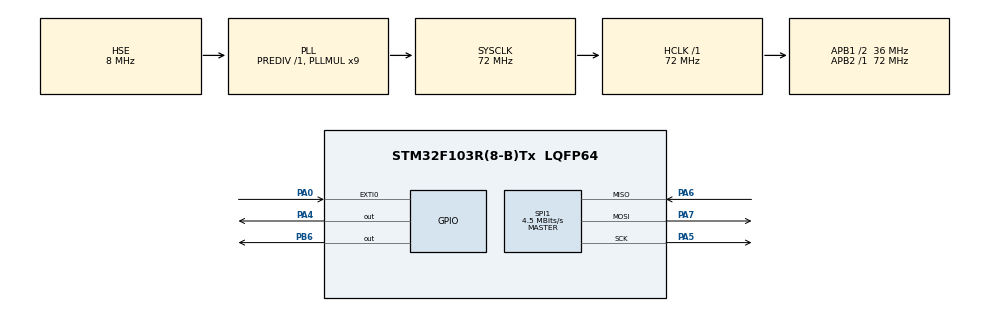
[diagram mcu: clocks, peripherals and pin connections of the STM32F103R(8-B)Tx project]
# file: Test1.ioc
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Mcu.Family=STM32F1
Mcu.Name=STM32F103R(8-B)Tx
Mcu.Package=LQFP64
NVIC.EXTI0_IRQn=true\:0\:0\:false\:false\:true\:true\:true
NVIC.PriorityGroup=NVIC_PRIORITYGROUP_4
NVIC.SPI1_IRQn=true\:0\:0\:false\:false\:true\:true\:true
PA0-WKUP.Signal=GPXTI0
PA13.Mode=Serial_Wire
PA13.Signal=SYS_JTMS-SWDIO
PA14.Mode=Serial_Wire
PA14.Signal=SYS_JTCK-SWCLK
PA4.GPIO_PuPd=GPIO_NOPULL
PA4.GPIO_Speed=GPIO_SPEED_FREQ_HIGH
PA4.PinState=GPIO_PIN_SET
PA4.Signal=GPIO_Output
PA5.Mode=Full_Duplex_Master
PA5.Signal=SPI1_SCK
PA6.Mode=Full_Duplex_Master
PA6.Signal=SPI1_MISO
PA7.Mode=Full_Duplex_Master
PA7.Signal=SPI1_MOSI
PB6.GPIO_PuPd=GPIO_NOPULL
PB6.PinState=GPIO_PIN_SET
PB6.Signal=GPIO_Output
PD0-OSC_IN.Mode=HSE-External-Oscillator
PD0-OSC_IN.Signal=RCC_OSC_IN
PD1-OSC_OUT.Mode=HSE-External-Oscillator
PD1-OSC_OUT.Signal=RCC_OSC_OUT
ProjectManager.HeapSize=0x200
ProjectManager.StackSize=0x400
ProjectManager.TargetToolchain=MDK-ARM V5.27
RCC.AHBFreq_Value=72000000
RCC.APB1CLKDivider=RCC_HCLK_DIV2
RCC.APB1Freq_Value=36000000
RCC.APB1TimFreq_Value=72000000
RCC.APB2Freq_Value=72000000
RCC.APB2TimFreq_Value=72000000
RCC.HCLKFreq_Value=72000000
RCC.PLLMUL=RCC_PLL_MUL9
RCC.PLLSourceVirtual=RCC_PLLSOURCE_HSE
RCC.SYSCLKFreq_VALUE=72000000
RCC.SYSCLKSource=RCC_SYSCLKSOURCE_PLLCLK
RCC.USBFreq_Value=72000000
SPI1.BaudRatePrescaler=SPI_BAUDRATEPRESCALER_16
SPI1.CLKPhase=SPI_PHASE_1EDGE
SPI1.CLKPolarity=SPI_POLARITY_LOW
SPI1.CalculateBaudRate=4.5 MBits/s
SPI1.Direction=SPI_DIRECTION_2LINES
SPI1.Mode=SPI_MODE_MASTER
SPI1.VirtualType=VM_MASTER
board=custom

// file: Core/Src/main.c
/* USER CODE BEGIN Header */
/**
  ******************************************************************************
  * @file           : main.c
  * @brief          : Main program body
  ******************************************************************************
  * @attention
  *
  * <h2><center>&copy; Copyright (c) 2022 STMicroelectronics.
  * All rights reserved.</center></h2>
  *
  * This software component is licensed by ST under BSD 3-Clause license,
  * the "License"; You may not use this file except in compliance with the
  * License. You may obtain a copy of the License at:
  *                        opensource.org/licenses/BSD-3-Clause
  *
  ******************************************************************************
  */
/* USER CODE END Header */
#include "main.h"

SPI_HandleTypeDef hspi1;

/* USER CODE BEGIN PV */
uint8_t DevID[3] = {0x01,0x00,0x00};
uint8_t SwitchOn[3] = {0x09,0xFF,0xF8}; //ok
//uint8_t GenConfig[3] = {0x04,0x3F,0x00}; //ok
uint8_t SPIConfig[3] = {0x03,0x0A,0xA4}; //ok(?)
uint8_t TxData[3];
uint8_t NOP[3];
uint8_t SetValue[3] = {0x10,0xFF,0xFF};
uint8_t ResetValue[3] = {0x10,0x00,0x00};
uint8_t k=0;
/* USER CODE END PV */

void SystemClock_Config(void);
static void MX_GPIO_Init(void);
static void MX_SPI1_Init(void);
/* USER CODE BEGIN PFP */
void Set(uint8_t i);
/* USER CODE END PFP */

int main(void)
{

  /* MCU Configuration--------------------------------------------------------*/

  /* Reset of all peripherals, Initializes the Flash interface and the Systick. */
  HAL_Init();

  /* Configure the system clock */
  SystemClock_Config();

  /* Initialize all configured peripherals */
  MX_GPIO_Init();
  MX_SPI1_Init();
  /* USER CODE BEGIN 2 */

  //Configuring SPI on DAC
  HAL_GPIO_WritePin(GPIOA,GPIO_PIN_4, GPIO_PIN_RESET); //CS low
  HAL_Delay(1);
  HAL_SPI_Transmit(&hspi1,SPIConfig,3,0); //SPI config register
  while(__HAL_SPI_GET_FLAG(&hspi1,SPI_FLAG_BSY));
  HAL_GPIO_WritePin(GPIOA,GPIO_PIN_4, GPIO_PIN_SET); //CS high
  HAL_Delay(1);
  //Reading the response
  HAL_GPIO_WritePin(GPIOA,GPIO_PIN_4, GPIO_PIN_RESET); //CS low
  HAL_Delay(1);
  HAL_SPI_Receive(&hspi1,TxData,3,0);
  while(__HAL_SPI_GET_FLAG(&hspi1,SPI_FLAG_BSY));
  HAL_GPIO_WritePin(GPIOA,GPIO_PIN_4, GPIO_PIN_SET); //CS high
  HAL_Delay(1);

  //Turning on DAC0
  HAL_GPIO_WritePin(GPIOA,GPIO_PIN_4, GPIO_PIN_RESET); //CS low
  HAL_Delay(1);
  HAL_SPI_Transmit(&hspi1,SwitchOn,3,0);
  while(__HAL_SPI_GET_FLAG(&hspi1,SPI_FLAG_BSY));
  HAL_GPIO_WritePin(GPIOA,GPIO_PIN_4, GPIO_PIN_SET); //CS high
  HAL_Delay(1);
  //Reading the response
  HAL_GPIO_WritePin(GPIOA,GPIO_PIN_4, GPIO_PIN_RESET); //CS low
  HAL_Delay(1);
  HAL_SPI_Receive(&hspi1,TxData,3,0);
  while(__HAL_SPI_GET_FLAG(&hspi1,SPI_FLAG_BSY));
  HAL_GPIO_WritePin(GPIOA,GPIO_PIN_4, GPIO_PIN_SET); //CS high
  HAL_Delay(1);

/*  HAL_GPIO_WritePin(GPIOA,GPIO_PIN_4, GPIO_PIN_RESET);
  //HAL_Delay(50);
  HAL_SPI_Transmit(&hspi1,GenConfig,3,0);
  HAL_GPIO_WritePin(GPIOA,GPIO_PIN_4, GPIO_PIN_SET);
  HAL_Delay(50);
  HAL_GPIO_WritePin(GPIOA,GPIO_PIN_4, GPIO_PIN_RESET);
  //HAL_Delay(50);
  HAL_SPI_Receive(&hspi1,TxData,3,0);
  while(__HAL_SPI_GET_FLAG(&hspi1,SPI_FLAG_BSY));
  HAL_GPIO_WritePin(GPIOA,GPIO_PIN_4, GPIO_PIN_SET);
  HAL_Delay(50);*/

  //Sending the deviceID command
  HAL_GPIO_WritePin(GPIOA,GPIO_PIN_4, GPIO_PIN_RESET); //CS low
  HAL_Delay(1);
  HAL_SPI_Transmit(&hspi1,DevID,3,0);
  while(__HAL_SPI_GET_FLAG(&hspi1,SPI_FLAG_BSY));
  HAL_GPIO_WritePin(GPIOA,GPIO_PIN_4, GPIO_PIN_SET); //CS high
  HAL_Delay(1);
  //Reading the response
  HAL_GPIO_WritePin(GPIOA,GPIO_PIN_4, GPIO_PIN_RESET); //CS low
  HAL_Delay(1);
  HAL_SPI_Receive(&hspi1,TxData,3,0);
  while(__HAL_SPI_GET_FLAG(&hspi1,SPI_FLAG_BSY));
  HAL_GPIO_WritePin(GPIOA,GPIO_PIN_4, GPIO_PIN_SET); //CS high
  HAL_Delay(1);

  /* USER CODE END 2 */

  /* Infinite loop */
  /* USER CODE BEGIN WHILE */
  while (1)
  {
    Set(k);
    /* USER CODE END WHILE */

  }
}

void SystemClock_Config(void)
{
  RCC_OscInitTypeDef RCC_OscInitStruct = {0};
  RCC_ClkInitTypeDef RCC_ClkInitStruct = {0};

  /** Initializes the RCC Oscillators according to the specified parameters
  * in the RCC_OscInitTypeDef structure.
  */
  RCC_OscInitStruct.OscillatorType = RCC_OSCILLATORTYPE_HSE;
  RCC_OscInitStruct.HSEState = RCC_HSE_ON;
  RCC_OscInitStruct.HSEPredivValue = RCC_HSE_PREDIV_DIV1;
  RCC_OscInitStruct.HSIState = RCC_HSI_ON;
  RCC_OscInitStruct.PLL.PLLState = RCC_PLL_ON;
  RCC_OscInitStruct.PLL.PLLSource = RCC_PLLSOURCE_HSE;
  RCC_OscInitStruct.PLL.PLLMUL = RCC_PLL_MUL9;
  if (HAL_RCC_OscConfig(&RCC_OscInitStruct) != HAL_OK)
  {
    Error_Handler();
  }
  /** Initializes the CPU, AHB and APB buses clocks
  */
  RCC_ClkInitStruct.ClockType = RCC_CLOCKTYPE_HCLK|RCC_CLOCKTYPE_SYSCLK
                              |RCC_CLOCKTYPE_PCLK1|RCC_CLOCKTYPE_PCLK2;
  RCC_ClkInitStruct.SYSCLKSource = RCC_SYSCLKSOURCE_PLLCLK;
  RCC_ClkInitStruct.AHBCLKDivider = RCC_SYSCLK_DIV1;
  RCC_ClkInitStruct.APB1CLKDivider = RCC_HCLK_DIV2;
  RCC_ClkInitStruct.APB2CLKDivider = RCC_HCLK_DIV1;

  if (HAL_RCC_ClockConfig(&RCC_ClkInitStruct, FLASH_LATENCY_2) != HAL_OK)
  {
    Error_Handler();
  }
}

static void MX_SPI1_Init(void)
{

  /* SPI1 parameter configuration*/
  hspi1.Instance = SPI1;
  hspi1.Init.Mode = SPI_MODE_MASTER;
  hspi1.Init.Direction = SPI_DIRECTION_2LINES;
  hspi1.Init.DataSize = SPI_DATASIZE_8BIT;
  hspi1.Init.CLKPolarity = SPI_POLARITY_LOW;
  hspi1.Init.CLKPhase = SPI_PHASE_1EDGE;
  hspi1.Init.NSS = SPI_NSS_SOFT;
  hspi1.Init.BaudRatePrescaler = SPI_BAUDRATEPRESCALER_16;
  hspi1.Init.FirstBit = SPI_FIRSTBIT_MSB;
  hspi1.Init.TIMode = SPI_TIMODE_DISABLE;
  hspi1.Init.CRCCalculation = SPI_CRCCALCULATION_DISABLE;
  hspi1.Init.CRCPolynomial = 10;
  if (HAL_SPI_Init(&hspi1) != HAL_OK)
  {
    Error_Handler();
  }

}

static void MX_GPIO_Init(void)
{
  GPIO_InitTypeDef GPIO_InitStruct = {0};

  /* GPIO Ports Clock Enable */
  __HAL_RCC_GPIOD_CLK_ENABLE();
  __HAL_RCC_GPIOA_CLK_ENABLE();
  __HAL_RCC_GPIOB_CLK_ENABLE();

  /*Configure GPIO pin Output Level */
  HAL_GPIO_WritePin(GPIOA, GPIO_PIN_4, GPIO_PIN_SET);

  /*Configure GPIO pin Output Level */
  HAL_GPIO_WritePin(GPIOB, GPIO_PIN_6, GPIO_PIN_SET);

  /*Configure GPIO pin : PA0 */
  GPIO_InitStruct.Pin = GPIO_PIN_0;
  GPIO_InitStruct.Mode = GPIO_MODE_IT_RISING;
  GPIO_InitStruct.Pull = GPIO_NOPULL;
  HAL_GPIO_Init(GPIOA, &GPIO_InitStruct);

  /*Configure GPIO pin : PA4 */
  GPIO_InitStruct.Pin = GPIO_PIN_4;
  GPIO_InitStruct.Mode = GPIO_MODE_OUTPUT_PP;
  GPIO_InitStruct.Pull = GPIO_NOPULL;
  GPIO_InitStruct.Speed = GPIO_SPEED_FREQ_HIGH;
  HAL_GPIO_Init(GPIOA, &GPIO_InitStruct);

  /*Configure GPIO pin : PB6 */
  GPIO_InitStruct.Pin = GPIO_PIN_6;
  GPIO_InitStruct.Mode = GPIO_MODE_OUTPUT_PP;
  GPIO_InitStruct.Pull = GPIO_NOPULL;
  GPIO_InitStruct.Speed = GPIO_SPEED_FREQ_LOW;
  HAL_GPIO_Init(GPIOB, &GPIO_InitStruct);

  /* EXTI interrupt init*/
  HAL_NVIC_SetPriority(EXTI0_IRQn, 0, 0);
  HAL_NVIC_EnableIRQ(EXTI0_IRQn);

}

/* USER CODE BEGIN 4 */
void Set(uint8_t i)
{
    if (i==0) {
        HAL_GPIO_WritePin(GPIOA,GPIO_PIN_4, GPIO_PIN_RESET);
        HAL_Delay(1);
        HAL_SPI_Transmit(&hspi1,SetValue,3,0);
        HAL_GPIO_WritePin(GPIOA,GPIO_PIN_4, GPIO_PIN_SET);
        HAL_Delay(1);
        //Reading the response
        HAL_GPIO_WritePin(GPIOA,GPIO_PIN_4, GPIO_PIN_RESET); //CS low
        HAL_Delay(1);
        HAL_SPI_Receive(&hspi1,TxData,3,0);
        HAL_GPIO_WritePin(GPIOA,GPIO_PIN_4, GPIO_PIN_SET); //CS high
        HAL_Delay(1);
    }
    else {
        HAL_GPIO_WritePin(GPIOA,GPIO_PIN_4, GPIO_PIN_RESET);
        HAL_Delay(1);
        HAL_SPI_Transmit(&hspi1,ResetValue,3,0);
        HAL_GPIO_WritePin(GPIOA,GPIO_PIN_4, GPIO_PIN_SET);
        HAL_Delay(1);
        //Reading the response
        HAL_GPIO_WritePin(GPIOA,GPIO_PIN_4, GPIO_PIN_RESET); //CS low
        HAL_Delay(1);
        HAL_SPI_Receive(&hspi1,TxData,3,0);
        HAL_GPIO_WritePin(GPIOA,GPIO_PIN_4, GPIO_PIN_SET); //CS high
        HAL_Delay(1);
    }
}
/* USER CODE END 4 */

void Error_Handler(void)
{
  __disable_irq();
  while (1)
  {
  }
}

/************************ (C) COPYRIGHT STMicroelectronics *****END OF FILE****/
